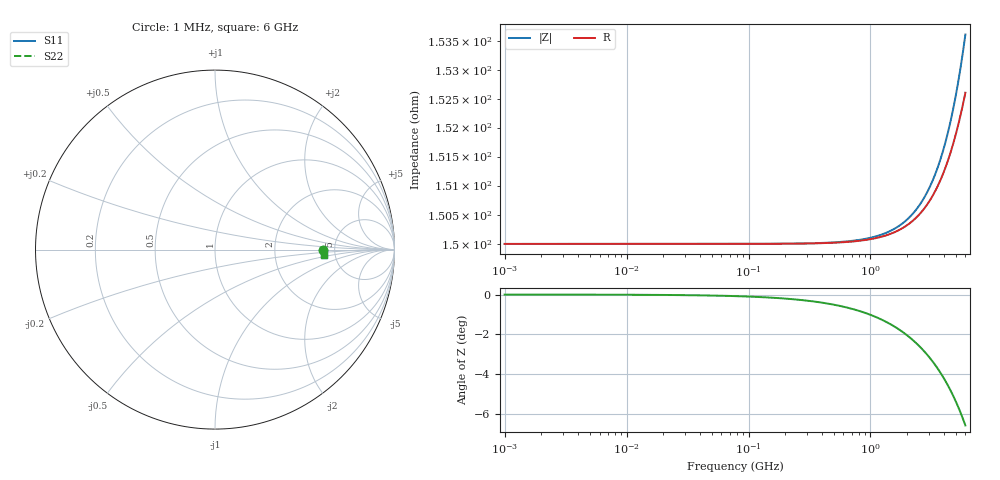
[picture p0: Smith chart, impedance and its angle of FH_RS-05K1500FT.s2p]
! FH RS-05K1500FT 150 ohm 0805 (R4)
! Model: 150 ohm + 0.7 nH, || 0.05 pF
! Generated by make_s2p.py - an estimate, not a measurement
! Series-thru 2-port: part connected between port 1 and port 2.
# Hz S RI R 50
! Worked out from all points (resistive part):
!   1500 points, 1 MHz to 6 GHz, reference 50 ohm
!   read as one part in series: R = 150 ohm at 8 MHz
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1000000  0.6 -4.27e-06  0.4 4.27e-06  0.4 4.27e-06  0.6 -4.27e-06
5000000  0.6 -2.14e-05  0.4 2.14e-05  0.4 2.14e-05  0.6 -2.14e-05
1.9e7  0.6 -8.12e-05  0.4 8.12e-05  0.4 8.12e-05  0.6 -8.12e-05
7.8e7  0.6 -0.000333  0.4 0.000333  0.4 0.000333  0.6 -0.000333
1.75e8  0.6 -0.000748  0.4 0.000748  0.4 0.000748  0.6 -0.000748
3.31e8  0.6 -0.00141  0.4 0.00141  0.4 0.00141  0.6 -0.00141
5.11e8  0.6 -0.00218  0.4 0.00218  0.4 0.00218  0.6 -0.00218
7.46e8  0.6001 -0.00319  0.3999 0.00319  0.3999 0.00319  0.6001 -0.00319
8.98e8  0.6001 -0.00384  0.3999 0.00384  0.3999 0.00384  0.6001 -0.00384
1.07e9  0.6002 -0.00458  0.3998 0.00458  0.3998 0.00458  0.6002 -0.00458
1.41e9  0.6003 -0.00605  0.3997 0.00605  0.3997 0.00605  0.6003 -0.00605
1.78e9  0.6006 -0.00765  0.3994 0.00765  0.3994 0.00765  0.6006 -0.00765
2.21e9  0.6009 -0.00954  0.3991 0.00954  0.3991 0.00954  0.6009 -0.00954
2.7e9  0.6013 -0.0117  0.3987 0.0117  0.3987 0.0117  0.6013 -0.0117
3.24e9  0.6018 -0.0141  0.3982 0.0141  0.3982 0.0141  0.6018 -0.0141
3.53e9  0.6022 -0.0155  0.3978 0.0155  0.3978 0.0155  0.6022 -0.0155
3.84e9  0.6025 -0.0169  0.3975 0.0169  0.3975 0.0169  0.6025 -0.0169
4.16e9  0.603 -0.0184  0.397 0.0184  0.397 0.0184  0.603 -0.0184
4.49e9  0.6035 -0.02  0.3965 0.02  0.3965 0.02  0.6035 -0.02
4.82e9  0.604 -0.0216  0.396 0.0216  0.396 0.0216  0.604 -0.0216
5.17e9  0.6045 -0.0233  0.3955 0.0233  0.3955 0.0233  0.6045 -0.0233
6e9  0.606 -0.0275  0.394 0.0275  0.394 0.0275  0.606 -0.0275
